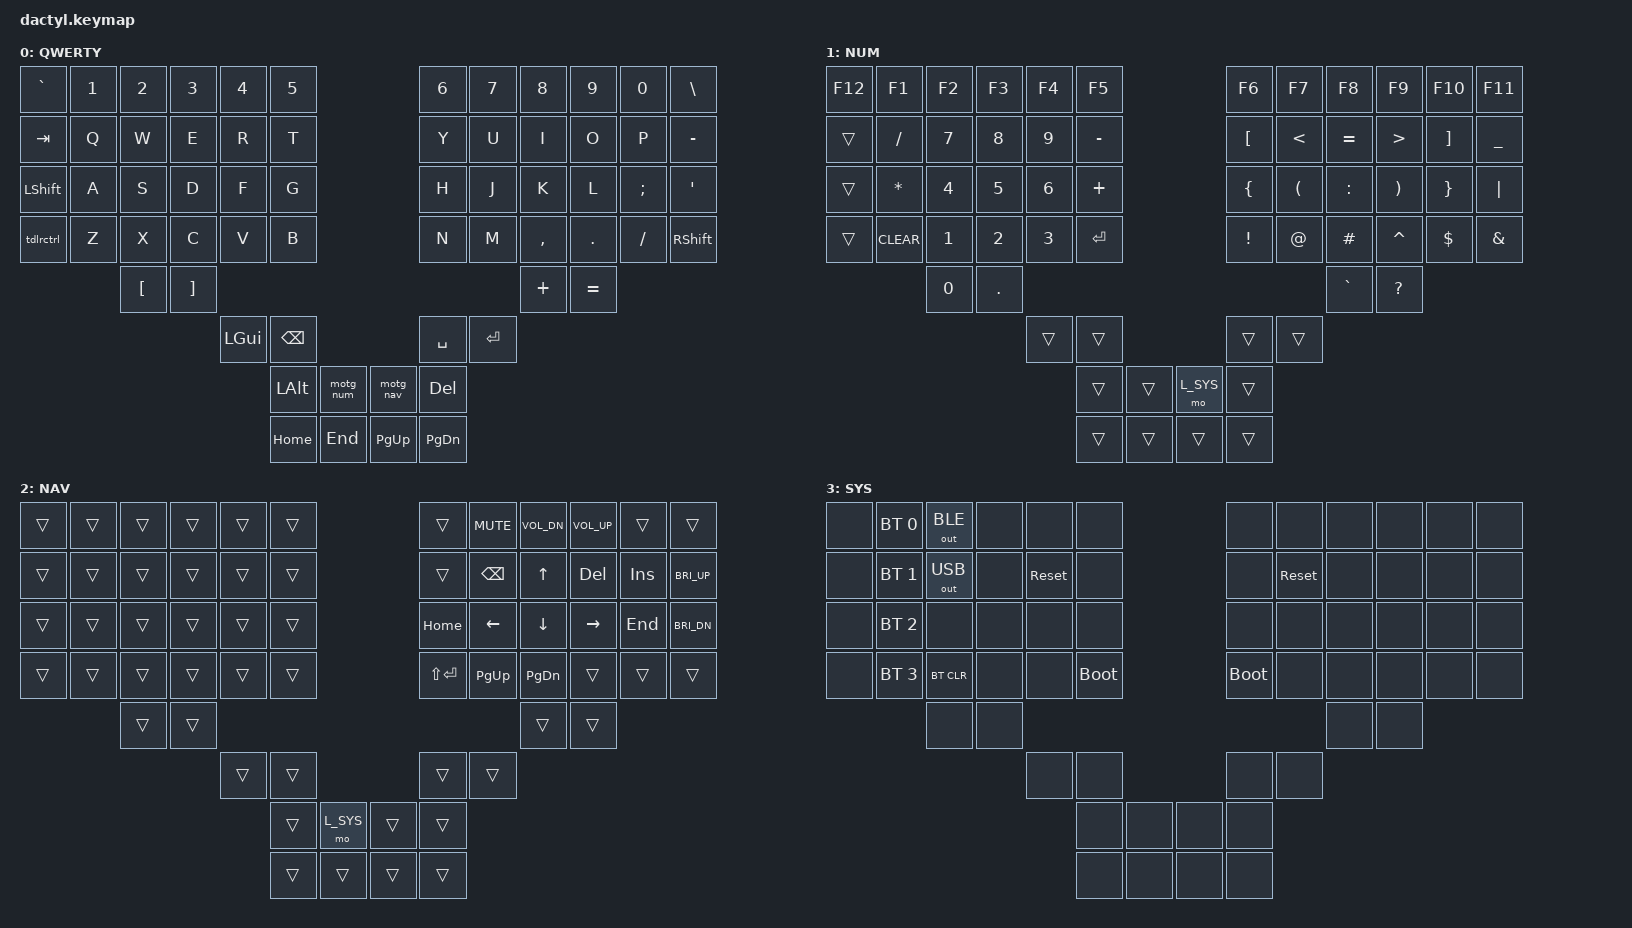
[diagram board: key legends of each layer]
#include <behaviors.dtsi>
#include <dt-bindings/zmk/bt.h>
#include <dt-bindings/zmk/keys.h>
#include <dt-bindings/zmk/outputs.h>
//#include "mouse.dtsi"  // finicky and not worth it, turning off

#define DEFAULT 0
#define L_NUM 1
#define L_NAV 2
#define L_SYS 3
//#define L_MOU 4

//#define P_LMOU_X &hll L_MOU X  // this would be a home-mod row thing for x

&caps_word {
  continue-list = <UNDERSCORE MINUS BSPC>;
};

/ {
  
     behaviors {

       /*  hll: home_row_layer_mod_left { */
       /*      compatible = "zmk,behavior-hold-tap"; */
       /*      #binding-cells = <2>; */
       /*      flavor = "balanced"; */
       /*      tapping-term-ms = <200>; */
       /*      quick-tap-ms = <175>; */
       /*      bindings = <&mo>, <&kp>; */
       /*      hold-trigger-key-positions = <6 7 8 9 10 11>; */
       /*      hold-trigger-on-release; */
       /* }; */
        
        tdlrctrl: tap_dance_leftrightcontrol {
            compatible = "zmk,behavior-tap-dance";
            #binding-cells = <0>;
            tapping-term-ms = <200>;
            bindings = <&kp LCTRL>, <&kp LC(RCTRL)>;
      };

        motg_nav: momentary_or_toggle_layer_nav {
            compatible = "zmk,behavior-tap-dance";
            #binding-cells = <0>;
	    tapping-term-ms = <200>;
	    bindings = <&mo L_NAV>, <&tog L_NAV>;
       };
       
     motg_num: momentary_or_toggle_layer_num {
            compatible = "zmk,behavior-tap-dance";
            #binding-cells = <0>;
	    tapping-term-ms = <200>;
	    bindings = <&mo L_NUM>, <&tog L_NUM>;
      };
    };

    combos {
      compatible = "zmk,combos";
      
      // Turn on CAPSWORD when pressing both shift keys together.
      combo_capsword {
	timeout-ms = <75>;
	key-positions =<24 47>;
	bindings = <&caps_word>;
      };

      combo_esc {
            timeout-ms = <75>;
            key-positions = <0 1>;
            bindings = <&kp ESC>;
        };
    };
    
    keymap {
        compatible = "zmk,keymap";

        default_layer { // LAYER 0
	  display-name = "QWERTY";
	  bindings = <
&kp GRAVE  &kp N1  &kp N2    &kp N3    &kp N4    &kp N5                          &kp N6     &kp N7     &kp N8     &kp N9     &kp N0    &kp BSLH
&kp TAB    &kp Q   &kp W     &kp E     &kp R     &kp T                           &kp Y      &kp U      &kp I      &kp O      &kp P     &kp MINUS
&kp LSHIFT &kp A   &kp S     &kp D     &kp F     &kp G                           &kp H      &kp J      &kp K      &kp L      &kp SEMI  &kp SQT
&tdlrctrl  &kp Z   &kp X     &kp C     &kp V     &kp B                           &kp N      &kp M      &kp COMMA  &kp DOT    &kp FSLH  &kp RSHIFT
                   &kp LBKT  &kp RBKT                                                                  &kp PLUS   &kp EQUAL
                                       &kp LGUI  &kp BSPC                        &kp SPACE  &kp ENTER
                                                 &kp LALT  &motg_num  &motg_nav  &kp DEL
                                                 &kp HOME  &kp END    &kp PG_UP  &kp PG_DN
            >;
        };

        num_layer { // layer 1
	  display-name = "NUM";
	  bindings = <
&kp F12  &kp F1       &kp F2    &kp F3    &kp F4     &kp F5                      &kp F6    &kp F7    &kp F8    &kp F9     &kp F10   &kp F11
&trans   &kp FSLH     &kp N7    &kp N8    &kp N9     &kp MINUS                   &kp LBKT  &kp LT    &kp EQUAL &kp GT     &kp RBKT  &kp UNDERSCORE
&trans   &kp STAR     &kp N4    &kp N5    &kp N6     &kp PLUS                    &kp LBRC  &kp LPAR  &kp COLON &kp RPAR   &kp RBRC  &kp PIPE
&trans   &kp CLEAR    &kp N1    &kp N2    &kp N3     &kp ENTER                   &kp EXCL  &kp AT    &kp HASH  &kp CARET  &kp DLLR  &kp AMPS
                      &kp N0    &kp DOT                                                              &kp GRAVE &kp QMARK
                                          &trans     &trans                      &trans  &trans
                                                     &trans  &trans   &mo L_SYS  &trans
                                                     &trans  &trans   &trans     &trans
            >;
        };

	nav_layer { // layer 2
	  display-name="NAV";
            bindings = <
&trans  &trans  &trans     &trans      &trans        &trans                     &trans         &kp K_MUTE  &kp K_VOL_DN  &kp K_VOL_UP  &trans         &trans
&trans  &trans  &trans     &trans      &trans        &trans                     &trans         &kp BSPC    &kp UP        &kp DELETE    &kp INS        &kp C_BRI_UP
&trans  &trans  &trans     &trans      &trans        &trans                     &kp HOME       &kp LEFT    &kp DOWN      &kp RIGHT     &kp END        &kp C_BRI_DN
&trans  &trans  &trans     &trans      &trans        &trans                     &kp LS(ENTER)  &kp PG_UP   &kp PG_DN     &trans        &trans         &trans
                &trans     &trans                                                                          &trans        &trans
                                       &trans        &trans                     &trans         &trans
                                                     &trans  &mo L_SYS  &trans  &trans
                                                     &trans  &trans     &trans  &trans
            >;
        };

        sys_layer { // layer 3
	  display-name="SYS";
            bindings = <
&none  &bt BT_SEL 0  &out OUT_BLE  &none  &none       &none                      &none        &none       &none  &none  &none  &none
&none  &bt BT_SEL 1  &out OUT_USB  &none  &sys_reset  &none                      &none        &sys_reset  &none  &none  &none  &none
&none  &bt BT_SEL 2  &none         &none  &none       &none                      &none        &none       &none  &none  &none  &none
&none  &bt BT_SEL 3  &bt BT_CLR    &none  &none       &bootloader                &bootloader  &none       &none  &none  &none  &none
                     &none         &none                                                                  &none  &none
                                          &none       &none                      &none        &none
                                                      &none        &none  &none  &none
                                                      &none        &none  &none  &none
            >;
        };

/* 	mouse_layer { // layer 4 */
/* 	  display-name="MOUSE"; */
/*             bindings = < */
/* &trans  &trans  &trans     &trans      &trans        &trans                     &trans         &trans      &trans      &trans      &trans      &trans */
/* &trans  &trans  &trans     &trans      &trans        &trans                     &trans         U_WH_U      U_MS_U      U_WH_D      &trans      &trans */
/* &trans  &trans  &trans     &trans      &trans        &trans                     U_WH_L         U_MS_L      U_MS_D      U_MS_R      U_WH_R      &trans */
/* &trans  &trans  &trans     &trans      &trans        &trans                     &trans         &mkp LCLK   &mkp MCLK   &mkp RCLK   &trans      &trans */
/*                 &trans     &trans                                                                          &trans      &trans */
/*                                        &trans        &trans                     &trans         &trans */
/*                                                      &trans  &trans     &trans  &trans */
/*                                                      &trans  &trans     &trans  &trans */
/*             >; */
/*         }; */
    };
};

